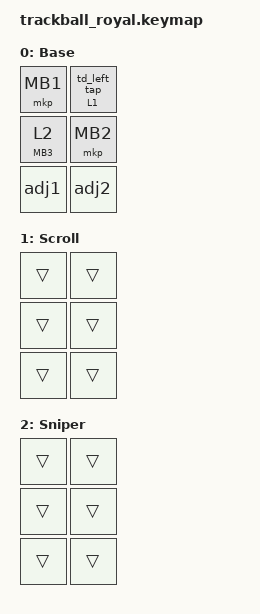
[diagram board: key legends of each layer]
#include "keys_ru.h"
#include <dt-bindings/zmk/input_transform.h>
#include <input/processors.dtsi>
#include <zephyr/dt-bindings/input/input-event-codes.h>
#include <dt-bindings/zmk/matrix_transform.h>
#include <scroll-snap.dtsi>
#include <behaviors.dtsi>
#include <dt-bindings/zmk/bt.h>
#include <dt-bindings/zmk/keys.h>
#include <dt-bindings/zmk/pointing.h>
#include "input/processors/sensor_rotation.dtsi"

/ {
    default_transform: keymap_transform_0 {
        compatible = "zmk,matrix-transform";
        columns = <2>;
        rows = <3>;
        map = <
        RC(0,3) RC(0,2)
        RC(0,0) RC(0,1)
        RC(0,5) RC(0,4)
        >;
    };

    behaviors {
        // Кнопка 2: тап = MB3, холд = scroll layer, тап+холд = Ctrl+Alt+Shift (best-effort, не всегда стабильно)
        td_left_tap: td_left_tap {
            compatible = "zmk,behavior-tap-dance";
            label = "TD_LEFT_TAP";
            #binding-cells = <0>;
            tapping-term-ms = <130>;
            bindings = <&mkp MB3>, <&kp LS(LA(LCTRL))>;
        };

        lt_td_left: lt_td_left {
            compatible = "zmk,behavior-hold-tap";
            label = "LT_TD_LEFT";
            #binding-cells = <2>;
            flavor = "balanced";
            tapping-term-ms = <90>;
            quick-tap-ms = <90>;
            bindings = <&mo>, <&td_left_tap>;
        };

        // Кнопка 3: тап = tog sniper layer, холд = зажатая MB3
        mmb_sniper: mmb_sniper {
            compatible = "zmk,behavior-hold-tap";
            label = "MMB_SNIPER";
            #binding-cells = <2>;
            flavor = "balanced";
            tapping-term-ms = <200>;
            bindings = <&mkp>, <&tog>;
        };

        adj1: adj1 {
            compatible = "zmk,behavior-tap-dance";
            label = "ADJ1";
            #binding-cells = <0>;
            bindings = <&bt BT_SEL 0>, <&bt BT_CLR>;
        };

        adj2: adj2 {
            compatible = "zmk,behavior-tap-dance";
            label = "ADJ2";
            #binding-cells = <0>;
            bindings = <&bt BT_NXT>, <&bt BT_CLR_ALL>;
        };
    };

    combos {
        compatible = "zmk,combos";

        combo_ctrl {
            timeout-ms = <50>;
            key-positions = <1 3>;
            bindings = <&kp LCTRL>;
            layers = <0>;
        };
    };

    keymap {
        compatible = "zmk,keymap";

        base {
            bindings = <
&mkp MB1           &lt_td_left 1 0
&mmb_sniper MB3 2  &mkp MB2
&adj1              &adj2
            >;

            display-name = "Base";
        };

        scroll {
            bindings = <
&trans  &trans
&trans  &trans
&trans  &trans
            >;

            display-name = "Scroll";
        };

        sniper {
            bindings = <
&trans  &trans
&trans  &trans
&trans  &trans
            >;

            display-name = "Sniper";
        };
    };

    input_processors {
        sensor_rotation: sensor_rotation {
            compatible = "zmk,input-processor-sensor-rotation";
            status = "okay";
            #input-processor-cells = <0>;
            rotation-angle = <5>;
        };
    };
};

&trackball { cpi = <400>; };

&trackball_listener {
    input-processors = <&sensor_rotation>;

    scroller {
        layers = <1>;
        input-processors =
            <&sensor_rotation>,
            <&zip_xy_transform INPUT_TRANSFORM_Y_INVERT>,
            <&zip_xy_scaler 1 16>,
            <&zip_xy_to_scroll_mapper &zip_scroll_snap>;
    };

    sniper {
        layers = <2>;
        input-processors = <&sensor_rotation>, <&zip_xy_scaler 1 4>;
    };
};
